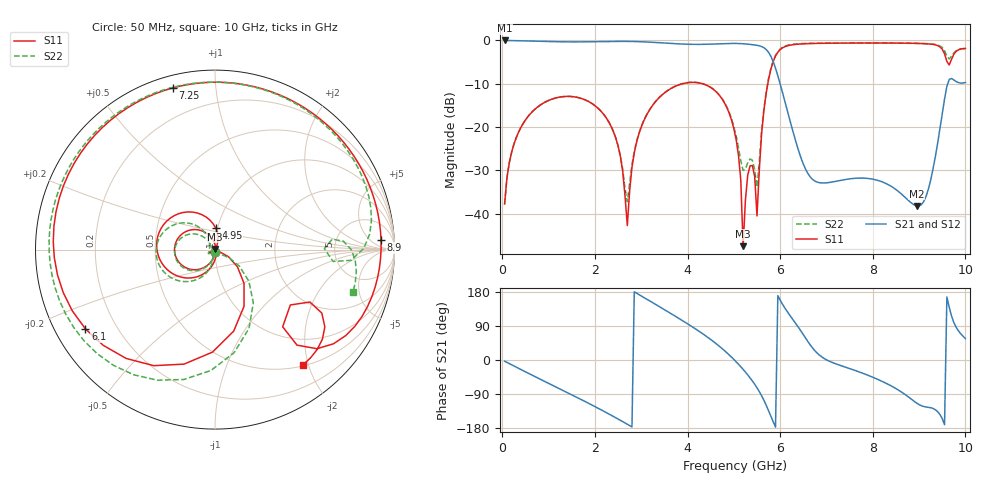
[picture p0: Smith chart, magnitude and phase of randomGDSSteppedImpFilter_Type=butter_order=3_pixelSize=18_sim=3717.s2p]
! freq	dB(S11)	phase(S11)	dB(S12)	phase(S12)
!  dB(S21)	phase(S21)	dB(S22)	phase(S22)
!S-par simulation data
#  GHz  S  DB  R 50
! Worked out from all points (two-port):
!   200 points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, 50 MHz to 10 GHz, reference 50 ohm
!   highest |S21| = -0.01 dB at 50 MHz (marker M1); lowest = -38.3 dB at 8.95 GHz (marker M2)
!   |S21| within 3 dB of the highest: start of sweep to 5.764 GHz
!   lowest |S11| = -47.5 dB at 5.2 GHz (marker M3), VSWR 1.01, Z = 49.9 + j0.394 ohm
!   |S11| at or under -10 dB: start of sweep to 3.896 GHz; 4.318 GHz to 5.734 GHz (1.416 GHz wide, 28.2 % of centre)
!   |S22| runs from -37.8 to -0.6 dB; largest |S21 - S12| = 0
!   S11 on the Smith chart (normalised r, x): 50 MHz: 1.00, -0.03; 4.95 GHz: 0.98, +0.24; 6.1 GHz: 0.09, -0.28; 7.25 GHz: 0.06, +0.77; 8.9 GHz: 17, +13; 10 GHz: 0.51, -1.91
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0.05  -37.80 -93.2  -0.01 -3.2  -0.01 -3.2  -37.76 -92.9
0.55  -17.66 -125.7  -0.12 -34.2  -0.12 -34.2  -17.66 -123.6
1.75  -13.57 158.5  -0.33 -107.2  -0.33 -107.2  -13.57 166.6
2.45  -22.55 108.8  -0.22 -152.4  -0.22 -152.4  -22.50 129.7
2.7  -42.78 -4.2  -0.22 -169.6  -0.22 -169.6  -37.26 -159.5
2.9  -23.51 -93.5  -0.26 176.3  -0.26 176.3  -23.30 -101.1
3.4  -13.09 -134.4  -0.53 140.2  -0.53 140.2  -13.04 -127.6
4.25  -9.83 158.3  -0.91 75.8  -0.91 75.8  -9.79 174.2
4.95  -18.40 88.3  -0.68 7.5  -0.68 7.5  -18.07 122.0
5.05  -22.94 76.2  -0.69 -4.7  -0.69 -4.7  -22.07 120.7
5.2  -47.55 109.6  -0.77 -24.7  -0.77 -24.7  -30.05 161.9
5.35  -28.99 -147.6  -0.91 -47.1  -0.91 -47.1  -27.39 -150.7
5.5  -40.56 -122.6  -1.13 -73.3  -1.13 -73.3  -33.88 -100.5
5.75  -9.00 -62.8  -2.74 -133.8  -2.74 -133.8  -8.75 -54.2
6.1  -1.45 -148.5  -14.02 137.4  -14.02 137.4  -1.33 -131.3
6.7  -0.71 144.3  -32.13 31.7  -32.13 31.7  -0.64 169.6
7.25  -0.62 104.7  -32.46 -12.3  -32.46 -12.3  -0.59 136.1
8.35  -0.60 36.9  -33.42 -65.3  -33.42 -65.3  -0.61 77.3
8.9  -0.66 3.3  -38.05 -109.5  -38.05 -109.5  -0.67 45.9
8.95  -0.67 0.1  -38.26 -113.9  -38.26 -113.9  -0.68 42.8
9.65  -5.67 -36.3  -9.03 139.6  -9.03 139.6  -4.30 0.5
10  -1.85 -52.7  -9.72 56.5  -9.72 56.5  -1.89 -17.2
